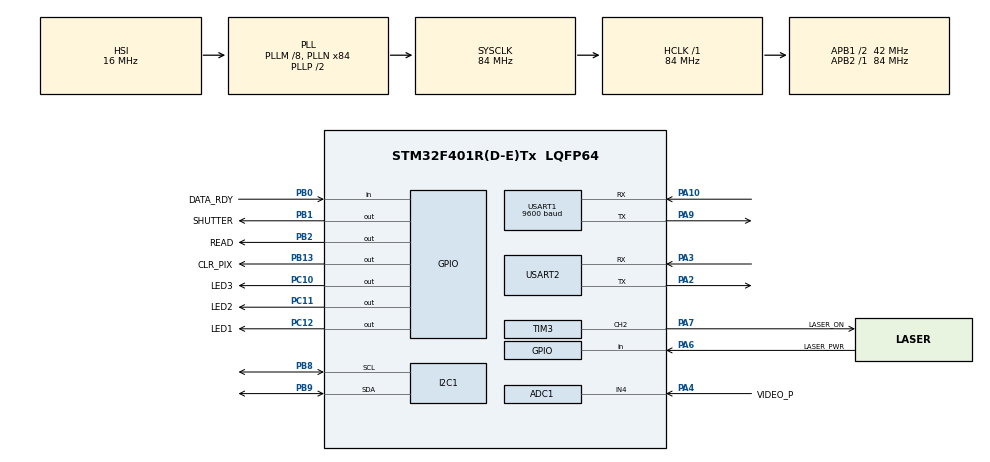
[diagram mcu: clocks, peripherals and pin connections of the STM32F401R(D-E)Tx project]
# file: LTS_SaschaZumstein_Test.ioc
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ADC1.Channel-0\#ChannelRegularConversion=ADC_CHANNEL_4
ADC1.NbrOfConversionFlag=1
ADC1.Rank-0\#ChannelRegularConversion=1
ADC1.SamplingTime-0\#ChannelRegularConversion=ADC_SAMPLETIME_3CYCLES
ADC1.master=1
I2C1.I2C_Mode=I2C_Fast
IWDG.Prescaler=IWDG_PRESCALER_8
IWDG.Reload=4095
Mcu.Family=STM32F4
Mcu.Name=STM32F401R(D-E)Tx
Mcu.Package=LQFP64
NVIC.PriorityGroup=NVIC_PRIORITYGROUP_4
NVIC.USART2_IRQn=true\:0\:0\:false\:false\:true\:true\:true\:true
PA10.Mode=Asynchronous
PA10.Signal=USART1_RX
PA13.Signal=SYS_JTMS-SWDIO
PA14.Signal=SYS_JTCK-SWCLK
PA2.Mode=Asynchronous
PA2.Signal=USART2_TX
PA3.Mode=Asynchronous
PA3.Signal=USART2_RX
PA4.GPIO_Label=VIDEO_P
PA4.Signal=SharedAnalog_PA4
PA6.GPIO_Label=LASER_PWR
PA6.Signal=GPIO_Input
PA7.GPIO_Label=LASER_ON
PA7.Signal=S_TIM3_CH2
PA9.Mode=Asynchronous
PA9.Signal=USART1_TX
PB0.GPIO_Label=DATA_RDY
PB0.Signal=GPIO_Input
PB1.GPIO_Label=SHUTTER
PB1.Signal=GPIO_Output
PB13.GPIO_Label=CLR_PIX
PB13.Signal=GPIO_Output
PB2.GPIO_Label=READ
PB2.Signal=GPIO_Output
PB8.Mode=I2C
PB8.Signal=I2C1_SCL
PB9.Mode=I2C
PB9.Signal=I2C1_SDA
PC10.GPIO_Label=LED3
PC10.Signal=GPIO_Output
PC11.GPIO_Label=LED2
PC11.Signal=GPIO_Output
PC12.GPIO_Label=LED1
PC12.Signal=GPIO_Output
ProjectManager.HeapSize=0x200
ProjectManager.StackSize=0x400
ProjectManager.TargetToolchain=STM32CubeIDE
RCC.48MHZClocksFreq_Value=42000000
RCC.AHBFreq_Value=84000000
RCC.APB1CLKDivider=RCC_HCLK_DIV2
RCC.APB1Freq_Value=42000000
RCC.APB1TimFreq_Value=84000000
RCC.APB2Freq_Value=84000000
RCC.APB2TimFreq_Value=84000000
RCC.CortexFreq_Value=84000000
RCC.HCLKFreq_Value=84000000
RCC.HSE_VALUE=25000000
RCC.HSI_VALUE=16000000
RCC.LSE_VALUE=32768
RCC.PLLM=8
RCC.PLLN=84
RCC.SYSCLKFreq_VALUE=84000000
RCC.SYSCLKSource=RCC_SYSCLKSOURCE_PLLCLK
RCC.VCOOutputFreq_Value=168000000
SH.S_TIM3_CH2.0=TIM3_CH2,PWM Generation2 CH2
SH.SharedAnalog_PA4.0=GPIO_Analog
SH.SharedAnalog_PA4.1=ADC1_IN4,IN4
TIM3.Channel-PWM\ Generation2\ CH2=TIM_CHANNEL_2
TIM3.Period=49
TIM3.Prescaler=84-1
TIM3.Pulse-PWM\ Generation2\ CH2=15
TIM9.Prescaler=84-1
USART1.BaudRate=9600
USART1.VirtualMode=VM_ASYNC
USART2.VirtualMode=VM_ASYNC
VP_IWDG_VS_IWDG.Mode=IWDG_Activate
VP_TIM3_VS_ClockSourceINT.Mode=Internal
VP_TIM9_VS_ClockSourceINT.Mode=Internal
board=custom

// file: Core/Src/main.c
/* USER CODE BEGIN Header */
/**
 ******************************************************************************
 * @file           : main.c
 * @brief          : Main program body
 ******************************************************************************
 * @attention
 *
 * Copyright (c) 2024 STMicroelectronics.
 * All rights reserved.
 *
 * This software is licensed under terms that can be found in the LICENSE file
 * in the root directory of this software component.
 * If no LICENSE file comes with this software, it is provided AS-IS.
 *
 ******************************************************************************
 */
/* USER CODE END Header */
#include "main.h"

/* USER CODE BEGIN Includes */
#include <stdio.h>
#include <stdbool.h>
#include "ssd1306.h"
#include "epc901.h"
#include "logic.h"

/* USER CODE END Includes */

/* USER CODE BEGIN PD */
#define NUM_OF_PIX 		1024
#define LASER_ON 		HAL_TIM_PWM_Start(&htim3, TIM_CHANNEL_2);
#define LASER_OFF		HAL_TIM_PWM_Stop(&htim3, TIM_CHANNEL_2);
#define LED_PWR_ON		HAL_GPIO_WritePin(LED1_GPIO_Port, LED1_Pin, GPIO_PIN_SET);
#define LED_PWR_OFF		HAL_GPIO_WritePin(LED1_GPIO_Port, LED1_Pin, GPIO_PIN_RESET);
#define LED_MEASURE_ON	HAL_GPIO_WritePin(LED2_GPIO_Port, LED2_Pin, GPIO_PIN_SET);
#define LED_MEASURE_OFF	HAL_GPIO_WritePin(LED2_GPIO_Port, LED2_Pin, GPIO_PIN_RESET);
#define LED_ERROR_ON	HAL_GPIO_WritePin(LED3_GPIO_Port, LED3_Pin, GPIO_PIN_SET);
#define LED_ERROR_OFF	HAL_GPIO_WritePin(LED3_GPIO_Port, LED3_Pin, GPIO_PIN_RESET);
#define CHECK_STATUS(status)       \
	do {                    	\
	if ((status) != HAL_OK) {	\
		Error_Handler();     	\
	}                        	\
} while (0)
/* USER CODE END PD */

ADC_HandleTypeDef hadc1;

I2C_HandleTypeDef hi2c1;

IWDG_HandleTypeDef hiwdg;

TIM_HandleTypeDef htim3;
TIM_HandleTypeDef htim9;

UART_HandleTypeDef huart1;
UART_HandleTypeDef huart2;

/* USER CODE BEGIN PV */
uint8_t rxBuffer[1];
volatile bool debugMode = false;
volatile bool fastMode = false;
/* USER CODE END PV */

void SystemClock_Config(void);
static void MX_GPIO_Init(void);
static void MX_ADC1_Init(void);
static void MX_I2C1_Init(void);
static void MX_USART1_UART_Init(void);
static void MX_USART2_UART_Init(void);
static void MX_TIM9_Init(void);
static void MX_TIM3_Init(void);
static void MX_IWDG_Init(void);

int main(void) {

	/* USER CODE BEGIN 1 */
	uint16_t distance = UINT16_MAX;
	char distStr[9];
	uint16_t shutterTime = 125;
	char shutterStr[22];
	uint16_t measureData[NUM_OF_PIX] = { 0 };
	uint16_t minVal = UINT16_MAX;
	uint16_t maxVal = 0;
	uint16_t maxIndex = 0;
	uint8_t txBuffer[1];
	/* USER CODE END 1 */

	/* MCU Configuration--------------------------------------------------------*/

	/* Reset of all peripherals, Initializes the Flash interface and the Systick. */
	HAL_Init();

	/* Configure the system clock */
	SystemClock_Config();

	/* USER CODE BEGIN SysInit */
	HAL_Delay(200); // delay to ensure that the display startup works correctly
	/* USER CODE END SysInit */

	/* Initialize all configured peripherals */
	MX_GPIO_Init();
	MX_ADC1_Init();
	MX_I2C1_Init();
	MX_USART1_UART_Init();
	MX_USART2_UART_Init();
	MX_TIM9_Init();
	MX_TIM3_Init();
	MX_IWDG_Init();
	/* USER CODE BEGIN 2 */
	// init display
	CHECK_STATUS(SSD1306_Init());
	SSD1306_PrintData("LTS Startup", "Please Wait");
	// init epc901
	CHECK_STATUS(HAL_TIM_Base_Start(&htim9));
	CHECK_STATUS(epc901_init());
	// init UART
	CHECK_STATUS(HAL_UART_Receive_IT(&huart2, rxBuffer, 1));
	logic_writeData("\r\n\n-- LTS Startup Please Wait --\r\n", 34, false);
	// delay to display startup screen
	for (int i = 0; i < 10; i++) {
		HAL_IWDG_Refresh(&hiwdg);
		HAL_Delay(200);
	}
	// startup sucessfully
	LASER_ON
	LED_PWR_ON
	LED_ERROR_OFF
	LED_MEASURE_OFF
	logic_writeData("\r\n\n-- LTS Startup successfully --\r\n", 35, false);
	SSD1306_Clear();
	/* USER CODE END 2 */

	/* Infinite loop */
	/* USER CODE BEGIN WHILE */
	while (1) {
		// get the data from the epc901
		CHECK_STATUS(epc901_getData(shutterTime, measureData, &minVal, &maxVal, &maxIndex));
		// regulate shutter time
		logic_adjustShutterTime(&shutterTime, minVal, maxVal);
		// calculate distance
		distance = logic_calcDist(measureData, minVal, maxVal, maxIndex);

		if (distance == UINT16_MAX) { // measurement not successful
			if (!fastMode){ // don't write to the display in fast mode
				CHECK_STATUS(SSD1306_PrintData("Distance:", "---- mm"));
			}
			logic_writeData("Distance: ---- mm\r\n", 19, fastMode);
			LED_MEASURE_OFF
		}
		else { // measurement successful
			sprintf(distStr, "%4d mm", distance);
			if (!fastMode){ // don't write to the display in fast mode
				CHECK_STATUS(SSD1306_PrintData("Distance:", distStr));
			}
			logic_writeData("Distance: ", 10, fastMode);
			logic_writeData(distStr, 7, fastMode);
			logic_writeData("\r\n", 2, fastMode);
			LED_MEASURE_ON
		}

		// send shutter time and measured data via serial only if debug mode is activated
		if (debugMode) {
			sprintf(shutterStr, "Shutter Time: %4d\r\n", shutterTime);
			logic_writeData(shutterStr, 20, false);

			// transmit the data
			logic_writeData("START DATA\r\n", 12, true);
			for (int i = 0; i < NUM_OF_PIX; i++) {
				txBuffer[0] = measureData[i] >> 4;
				HAL_UART_Transmit(&huart2, txBuffer, 1, HAL_MAX_DELAY);
			}
			logic_writeData("\r\nEND DATA\r\n", 12, true);
		}
		/* USER CODE END WHILE */

		/* USER CODE BEGIN 3 */
		HAL_IWDG_Refresh(&hiwdg); // refresh watchdog
	}
	return 0;
	/* USER CODE END 3 */
}

void SystemClock_Config(void) {
	RCC_OscInitTypeDef RCC_OscInitStruct = { 0 };
	RCC_ClkInitTypeDef RCC_ClkInitStruct = { 0 };

	/** Configure the main internal regulator output voltage
	 */
	__HAL_RCC_PWR_CLK_ENABLE();
	__HAL_PWR_VOLTAGESCALING_CONFIG(PWR_REGULATOR_VOLTAGE_SCALE2);

	/** Initializes the RCC Oscillators according to the specified parameters
	 * in the RCC_OscInitTypeDef structure.
	 */
	RCC_OscInitStruct.OscillatorType = RCC_OSCILLATORTYPE_HSI
			| RCC_OSCILLATORTYPE_LSI;
	RCC_OscInitStruct.HSIState = RCC_HSI_ON;
	RCC_OscInitStruct.HSICalibrationValue = RCC_HSICALIBRATION_DEFAULT;
	RCC_OscInitStruct.LSIState = RCC_LSI_ON;
	RCC_OscInitStruct.PLL.PLLState = RCC_PLL_ON;
	RCC_OscInitStruct.PLL.PLLSource = RCC_PLLSOURCE_HSI;
	RCC_OscInitStruct.PLL.PLLM = 8;
	RCC_OscInitStruct.PLL.PLLN = 84;
	RCC_OscInitStruct.PLL.PLLP = RCC_PLLP_DIV2;
	RCC_OscInitStruct.PLL.PLLQ = 4;
	if (HAL_RCC_OscConfig(&RCC_OscInitStruct) != HAL_OK) {
		Error_Handler();
	}

	/** Initializes the CPU, AHB and APB buses clocks
	 */
	RCC_ClkInitStruct.ClockType = RCC_CLOCKTYPE_HCLK | RCC_CLOCKTYPE_SYSCLK
			| RCC_CLOCKTYPE_PCLK1 | RCC_CLOCKTYPE_PCLK2;
	RCC_ClkInitStruct.SYSCLKSource = RCC_SYSCLKSOURCE_PLLCLK;
	RCC_ClkInitStruct.AHBCLKDivider = RCC_SYSCLK_DIV1;
	RCC_ClkInitStruct.APB1CLKDivider = RCC_HCLK_DIV2;
	RCC_ClkInitStruct.APB2CLKDivider = RCC_HCLK_DIV1;

	if (HAL_RCC_ClockConfig(&RCC_ClkInitStruct, FLASH_LATENCY_2) != HAL_OK) {
		Error_Handler();
	}
}

static void MX_ADC1_Init(void) {

	ADC_ChannelConfTypeDef sConfig = { 0 };

	/** Configure the global features of the ADC (Clock, Resolution, Data Alignment and number of conversion)
	 */
	hadc1.Instance = ADC1;
	hadc1.Init.ClockPrescaler = ADC_CLOCK_SYNC_PCLK_DIV4;
	hadc1.Init.Resolution = ADC_RESOLUTION_12B;
	hadc1.Init.ScanConvMode = DISABLE;
	hadc1.Init.ContinuousConvMode = DISABLE;
	hadc1.Init.DiscontinuousConvMode = DISABLE;
	hadc1.Init.ExternalTrigConvEdge = ADC_EXTERNALTRIGCONVEDGE_NONE;
	hadc1.Init.ExternalTrigConv = ADC_SOFTWARE_START;
	hadc1.Init.DataAlign = ADC_DATAALIGN_RIGHT;
	hadc1.Init.NbrOfConversion = 1;
	hadc1.Init.DMAContinuousRequests = DISABLE;
	hadc1.Init.EOCSelection = ADC_EOC_SINGLE_CONV;
	if (HAL_ADC_Init(&hadc1) != HAL_OK) {
		Error_Handler();
	}

	/** Configure for the selected ADC regular channel its corresponding rank in the sequencer and its sample time.
	 */
	sConfig.Channel = ADC_CHANNEL_4;
	sConfig.Rank = 1;
	sConfig.SamplingTime = ADC_SAMPLETIME_3CYCLES;
	if (HAL_ADC_ConfigChannel(&hadc1, &sConfig) != HAL_OK) {
		Error_Handler();
	}

}

static void MX_I2C1_Init(void) {

	hi2c1.Instance = I2C1;
	hi2c1.Init.ClockSpeed = 400000;
	hi2c1.Init.DutyCycle = I2C_DUTYCYCLE_2;
	hi2c1.Init.OwnAddress1 = 0;
	hi2c1.Init.AddressingMode = I2C_ADDRESSINGMODE_7BIT;
	hi2c1.Init.DualAddressMode = I2C_DUALADDRESS_DISABLE;
	hi2c1.Init.OwnAddress2 = 0;
	hi2c1.Init.GeneralCallMode = I2C_GENERALCALL_DISABLE;
	hi2c1.Init.NoStretchMode = I2C_NOSTRETCH_DISABLE;
	if (HAL_I2C_Init(&hi2c1) != HAL_OK) {
		Error_Handler();
	}

}

static void MX_IWDG_Init(void) {

	hiwdg.Instance = IWDG;
	hiwdg.Init.Prescaler = IWDG_PRESCALER_8;
	hiwdg.Init.Reload = 4095;
	if (HAL_IWDG_Init(&hiwdg) != HAL_OK) {
		Error_Handler();
	}

}

static void MX_TIM3_Init(void) {

	TIM_ClockConfigTypeDef sClockSourceConfig = { 0 };
	TIM_MasterConfigTypeDef sMasterConfig = { 0 };
	TIM_OC_InitTypeDef sConfigOC = { 0 };

	htim3.Instance = TIM3;
	htim3.Init.Prescaler = 84 - 1;
	htim3.Init.CounterMode = TIM_COUNTERMODE_UP;
	htim3.Init.Period = 49;
	htim3.Init.ClockDivision = TIM_CLOCKDIVISION_DIV1;
	htim3.Init.AutoReloadPreload = TIM_AUTORELOAD_PRELOAD_DISABLE;
	if (HAL_TIM_Base_Init(&htim3) != HAL_OK) {
		Error_Handler();
	}
	sClockSourceConfig.ClockSource = TIM_CLOCKSOURCE_INTERNAL;
	if (HAL_TIM_ConfigClockSource(&htim3, &sClockSourceConfig) != HAL_OK) {
		Error_Handler();
	}
	if (HAL_TIM_PWM_Init(&htim3) != HAL_OK) {
		Error_Handler();
	}
	sMasterConfig.MasterOutputTrigger = TIM_TRGO_RESET;
	sMasterConfig.MasterSlaveMode = TIM_MASTERSLAVEMODE_DISABLE;
	if (HAL_TIMEx_MasterConfigSynchronization(&htim3, &sMasterConfig)
			!= HAL_OK) {
		Error_Handler();
	}
	sConfigOC.OCMode = TIM_OCMODE_PWM1;
	sConfigOC.Pulse = 15;
	sConfigOC.OCPolarity = TIM_OCPOLARITY_HIGH;
	sConfigOC.OCFastMode = TIM_OCFAST_DISABLE;
	if (HAL_TIM_PWM_ConfigChannel(&htim3, &sConfigOC, TIM_CHANNEL_2)
			!= HAL_OK) {
		Error_Handler();
	}
	HAL_TIM_MspPostInit(&htim3);

}

static void MX_TIM9_Init(void) {

	TIM_ClockConfigTypeDef sClockSourceConfig = { 0 };

	htim9.Instance = TIM9;
	htim9.Init.Prescaler = 84 - 1;
	htim9.Init.CounterMode = TIM_COUNTERMODE_UP;
	htim9.Init.Period = 65535;
	htim9.Init.ClockDivision = TIM_CLOCKDIVISION_DIV1;
	htim9.Init.AutoReloadPreload = TIM_AUTORELOAD_PRELOAD_DISABLE;
	if (HAL_TIM_Base_Init(&htim9) != HAL_OK) {
		Error_Handler();
	}
	sClockSourceConfig.ClockSource = TIM_CLOCKSOURCE_INTERNAL;
	if (HAL_TIM_ConfigClockSource(&htim9, &sClockSourceConfig) != HAL_OK) {
		Error_Handler();
	}

}

static void MX_USART1_UART_Init(void) {

	huart1.Instance = USART1;
	huart1.Init.BaudRate = 9600;
	huart1.Init.WordLength = UART_WORDLENGTH_8B;
	huart1.Init.StopBits = UART_STOPBITS_1;
	huart1.Init.Parity = UART_PARITY_NONE;
	huart1.Init.Mode = UART_MODE_TX_RX;
	huart1.Init.HwFlowCtl = UART_HWCONTROL_NONE;
	huart1.Init.OverSampling = UART_OVERSAMPLING_16;
	if (HAL_UART_Init(&huart1) != HAL_OK) {
		Error_Handler();
	}

}

static void MX_USART2_UART_Init(void) {

	huart2.Instance = USART2;
	huart2.Init.BaudRate = 115200;
	huart2.Init.WordLength = UART_WORDLENGTH_8B;
	huart2.Init.StopBits = UART_STOPBITS_1;
	huart2.Init.Parity = UART_PARITY_NONE;
	huart2.Init.Mode = UART_MODE_TX_RX;
	huart2.Init.HwFlowCtl = UART_HWCONTROL_NONE;
	huart2.Init.OverSampling = UART_OVERSAMPLING_16;
	if (HAL_UART_Init(&huart2) != HAL_OK) {
		Error_Handler();
	}

}

static void MX_GPIO_Init(void) {
	GPIO_InitTypeDef GPIO_InitStruct = { 0 };

	/* GPIO Ports Clock Enable */
	__HAL_RCC_GPIOA_CLK_ENABLE();
	__HAL_RCC_GPIOB_CLK_ENABLE();
	__HAL_RCC_GPIOC_CLK_ENABLE();

	/*Configure GPIO pin Output Level */
	HAL_GPIO_WritePin(GPIOB, SHUTTER_Pin | READ_Pin | CLR_PIX_Pin,
			GPIO_PIN_RESET);

	/*Configure GPIO pin Output Level */
	HAL_GPIO_WritePin(GPIOC, LED3_Pin | LED2_Pin | LED1_Pin, GPIO_PIN_RESET);

	/*Configure GPIO pin : LASER_PWR_Pin */
	GPIO_InitStruct.Pin = LASER_PWR_Pin;
	GPIO_InitStruct.Mode = GPIO_MODE_INPUT;
	GPIO_InitStruct.Pull = GPIO_NOPULL;
	HAL_GPIO_Init(LASER_PWR_GPIO_Port, &GPIO_InitStruct);

	/*Configure GPIO pin : DATA_RDY_Pin */
	GPIO_InitStruct.Pin = DATA_RDY_Pin;
	GPIO_InitStruct.Mode = GPIO_MODE_INPUT;
	GPIO_InitStruct.Pull = GPIO_NOPULL;
	HAL_GPIO_Init(DATA_RDY_GPIO_Port, &GPIO_InitStruct);

	/*Configure GPIO pins : SHUTTER_Pin READ_Pin CLR_PIX_Pin */
	GPIO_InitStruct.Pin = SHUTTER_Pin | READ_Pin | CLR_PIX_Pin;
	GPIO_InitStruct.Mode = GPIO_MODE_OUTPUT_PP;
	GPIO_InitStruct.Pull = GPIO_NOPULL;
	GPIO_InitStruct.Speed = GPIO_SPEED_FREQ_LOW;
	HAL_GPIO_Init(GPIOB, &GPIO_InitStruct);

	/*Configure GPIO pins : LED3_Pin LED2_Pin LED1_Pin */
	GPIO_InitStruct.Pin = LED3_Pin | LED2_Pin | LED1_Pin;
	GPIO_InitStruct.Mode = GPIO_MODE_OUTPUT_PP;
	GPIO_InitStruct.Pull = GPIO_NOPULL;
	GPIO_InitStruct.Speed = GPIO_SPEED_FREQ_LOW;
	HAL_GPIO_Init(GPIOC, &GPIO_InitStruct);

}

/* USER CODE BEGIN 4 */
/**
 * @brief Callback function of UART interrupt
 * @param UART handle type
 * @retval None
 */
void HAL_UART_RxCpltCallback(UART_HandleTypeDef *huart) {
	if (huart->Instance == USART2) {
		if (rxBuffer[0] == 'd') {
			debugMode = true;
			fastMode = false;
		}
		else if (rxBuffer[0] == 'f') {
			debugMode = false;
			fastMode = true;
			SSD1306_Clear();
		}
		else if (rxBuffer[0] == 'n') {
			debugMode = false;
			fastMode = false;
		}
		HAL_UART_Receive_IT(&huart2, rxBuffer, 1);
	}
}
/* USER CODE END 4 */

void Error_Handler(void) {
	/* USER CODE BEGIN Error_Handler_Debug */
	LASER_OFF
	LED_PWR_OFF
	LED_MEASURE_OFF
	LED_ERROR_ON
	SSD1306_PrintData("LTS Runtime", "Error      ");
	logic_writeData("\r\n\n-- LTS Runtime error --\r\n", 28, false);
	HAL_IWDG_Refresh(&hiwdg);
	while (1);
	/* USER CODE END Error_Handler_Debug */
}
